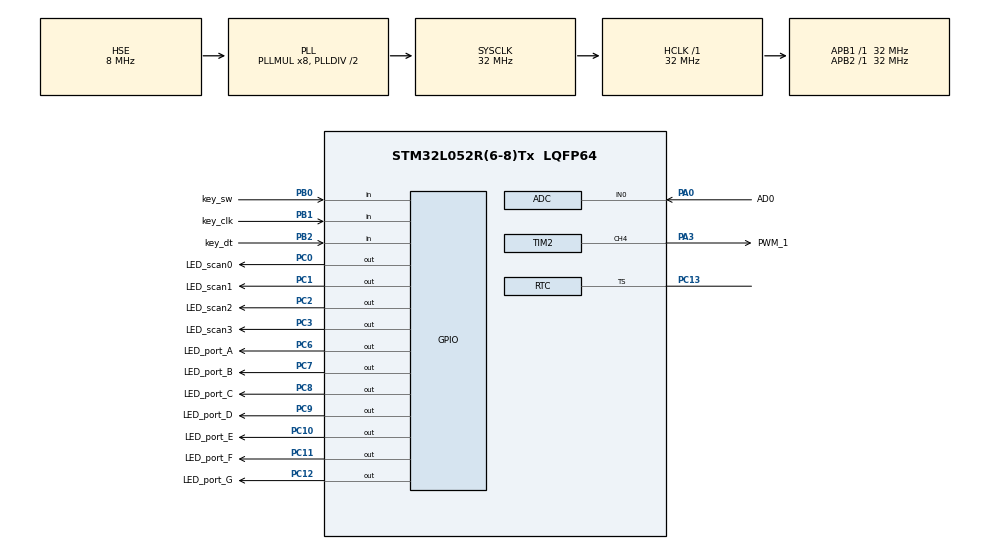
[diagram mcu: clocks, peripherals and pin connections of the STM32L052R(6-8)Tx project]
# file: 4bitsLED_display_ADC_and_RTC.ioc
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ADC.SamplingTime=ADC_SAMPLETIME_160CYCLES_5
Mcu.Family=STM32L0
Mcu.Name=STM32L052R(6-8)Tx
Mcu.Package=LQFP64
NVIC.ADC1_COMP_IRQn=true\:1\:0\:true\:false\:true\:true
NVIC.TIM2_IRQn=true\:2\:0\:true\:false\:true\:true
NVIC.TIM6_DAC_IRQn=true\:3\:0\:true\:false\:true\:true
PA0.GPIO_Label=AD0
PA0.Mode=IN0
PA0.Signal=ADC_IN0
PA13.Mode=Serial_Wire
PA13.Signal=SYS_SWDIO
PA14.Mode=Serial_Wire
PA14.Signal=SYS_SWCLK
PA3.GPIO_Label=PWM_1
PA3.Signal=S_TIM2_CH4
PB0.GPIO_Label=key_sw
PB0.GPIO_PuPd=GPIO_PULLUP
PB0.Signal=GPIO_Input
PB1.GPIO_Label=key_clk
PB1.GPIO_PuPd=GPIO_PULLUP
PB1.Signal=GPIO_Input
PB2.GPIO_Label=key_dt
PB2.GPIO_PuPd=GPIO_PULLUP
PB2.Signal=GPIO_Input
PC0.GPIO_Label=LED_scan0
PC0.GPIO_ModeDefaultOutputPP=GPIO_MODE_OUTPUT_PP
PC0.Signal=GPIO_Output
PC1.GPIO_Label=LED_scan1
PC1.Signal=GPIO_Output
PC10.GPIO_Label=LED_port_E
PC10.Signal=GPIO_Output
PC11.GPIO_Label=LED_port_F
PC11.Signal=GPIO_Output
PC12.GPIO_Label=LED_port_G
PC12.Signal=GPIO_Output
PC13.Mode=Timestamp enabled
PC13.Signal=RTC_TS
PC14-OSC32_IN.Mode=LSE-External-Oscillator
PC14-OSC32_IN.Signal=RCC_OSC32_IN
PC15-OSC32_OUT.Mode=LSE-External-Oscillator
PC15-OSC32_OUT.Signal=RCC_OSC32_OUT
PC2.GPIO_Label=LED_scan2
PC2.Signal=GPIO_Output
PC3.GPIO_Label=LED_scan3
PC3.Signal=GPIO_Output
PC6.GPIO_Label=LED_port_A
PC6.Signal=GPIO_Output
PC7.GPIO_Label=LED_port_B
PC7.Signal=GPIO_Output
PC8.GPIO_Label=LED_port_C
PC8.Signal=GPIO_Output
PC9.GPIO_Label=LED_port_D
PC9.Signal=GPIO_Output
PH0-OSC_IN.Mode=HSE-External-Oscillator
PH0-OSC_IN.Signal=RCC_OSC_IN
PH1-OSC_OUT.Mode=HSE-External-Oscillator
PH1-OSC_OUT.Signal=RCC_OSC_OUT
ProjectManager.HeapSize=0x200
ProjectManager.StackSize=0x400
ProjectManager.TargetToolchain=MDK-ARM V5
RCC.AHBFreq_Value=32000000
RCC.APB1Freq_Value=32000000
RCC.APB1TimFreq_Value=32000000
RCC.APB2Freq_Value=32000000
RCC.APB2TimFreq_Value=32000000
RCC.HCLKFreq_Value=32000000
RCC.HSE_VALUE=8000000
RCC.HSI16_VALUE=16000000
RCC.HSI48_VALUE=48000000
RCC.HSI_VALUE=16000000
RCC.MSI_VALUE=2097000
RCC.PLLMUL=RCC_PLLMUL_8
RCC.PLLSourceVirtual=RCC_PLLSOURCE_HSE
RCC.RTCClockSelection=RCC_RTCCLKSOURCE_LSE
RCC.SYSCLKFreq_VALUE=32000000
RCC.SYSCLKSource=RCC_SYSCLKSOURCE_PLLCLK
RCC.VCOOutputFreq_Value=64000000
SH.S_TIM2_CH4.0=TIM2_CH4,PWM Generation4 CH4
TIM2.Channel-PWM\ Generation4\ CH4=TIM_CHANNEL_4
TIM2.Period=1000
TIM2.Prescaler=10
TIM6.Period=1000
TIM6.Prescaler=32
VP_RTC_VS_RTC_Activate.Mode=RTC_Enabled
VP_RTC_VS_RTC_Calendar.Mode=RTC_Calendar
VP_TIM2_VS_ClockSourceINT.Mode=Internal
VP_TIM6_VS_ClockSourceINT.Mode=Enable_Timer
board=4bitsLED_display_ADC_and_RTC

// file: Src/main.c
/**
  ******************************************************************************
  * @file           : main.c
  * @brief          : Main program body
  ******************************************************************************
  ** This notice applies to any and all portions of this file
  * that are not between comment pairs USER CODE BEGIN and
  * USER CODE END. Other portions of this file, whether
  * inserted by the user or by software development tools
  * are owned by their respective copyright owners.
  *
  * COPYRIGHT(c) 2018 STMicroelectronics
  *
  * Redistribution and use in source and binary forms, with or without modification,
  * are permitted provided that the following conditions are met:
  *   1. Redistributions of source code must retain the above copyright notice,
  *      this list of conditions and the following disclaimer.
  *   2. Redistributions in binary form must reproduce the above copyright notice,
  *      this list of conditions and the following disclaimer in the documentation
  *      and/or other materials provided with the distribution.
  *   3. Neither the name of STMicroelectronics nor the names of its contributors
  *      may be used to endorse or promote products derived from this software
  *      without specific prior written permission.
  *
  * THIS SOFTWARE IS PROVIDED BY THE COPYRIGHT HOLDERS AND CONTRIBUTORS "AS IS"
  * AND ANY EXPRESS OR IMPLIED WARRANTIES, INCLUDING, BUT NOT LIMITED TO, THE
  * IMPLIED WARRANTIES OF MERCHANTABILITY AND FITNESS FOR A PARTICULAR PURPOSE ARE
  * DISCLAIMED. IN NO EVENT SHALL THE COPYRIGHT HOLDER OR CONTRIBUTORS BE LIABLE
  * FOR ANY DIRECT, INDIRECT, INCIDENTAL, SPECIAL, EXEMPLARY, OR CONSEQUENTIAL
  * DAMAGES (INCLUDING, BUT NOT LIMITED TO, PROCUREMENT OF SUBSTITUTE GOODS OR
  * SERVICES; LOSS OF USE, DATA, OR PROFITS; OR BUSINESS INTERRUPTION) HOWEVER
  * CAUSED AND ON ANY THEORY OF LIABILITY, WHETHER IN CONTRACT, STRICT LIABILITY,
  * OR TORT (INCLUDING NEGLIGENCE OR OTHERWISE) ARISING IN ANY WAY OUT OF THE USE
  * OF THIS SOFTWARE, EVEN IF ADVISED OF THE POSSIBILITY OF SUCH DAMAGE.
  *
  ******************************************************************************
  */
#include "main.h"
#include "stm32l0xx_hal.h"

/* USER CODE BEGIN Includes */
#define SEVEN_SEGMENT_SCAN0		0
#define SEVEN_SEGMENT_SCAN1		1
#define SEVEN_SEGMENT_SCAN2		2
#define SEVEN_SEGMENT_SCAN3		3
#define SEVEN_SEGMENT_BLACK		4

#define INITIAL 0
#define TASK1	1
#define TASK2	2
#define TASK3	3
#define TASK4	4

#define WAIT_PRESS_THE_BUTTON  0
#define WAIT_NO_PRESS_THE_BUTTON  1
/* USER CODE END Includes */

ADC_HandleTypeDef hadc;

RTC_HandleTypeDef hrtc;

TIM_HandleTypeDef htim2;
TIM_HandleTypeDef htim6;

/* USER CODE BEGIN PV */
/* Private variables ---------------------------------------------------------*/

/* USER CODE END PV */

void SystemClock_Config(void);
static void MX_GPIO_Init(void);
static void MX_ADC_Init(void);
static void MX_TIM2_Init(void);
static void MX_TIM6_Init(void);
static void MX_RTC_Init(void);

void HAL_TIM_MspPostInit(TIM_HandleTypeDef *htim);

/* USER CODE BEGIN PFP */
/* Private function prototypes -----------------------------------------------*/
uint8_t mstep=0;
uint8_t Seven_seg_scan = 0;
uint16_t Seven_segment_scan_timer = 0;
uint16_t LED_flicker_timer = 0;
uint16_t PWM_Counter = 0;
uint8_t Key_sw(uint8_t index);
uint8_t Key_sw_state = 0;
uint8_t ADC_index = 0;
uint16_t ADC_Value[10] = {0};
float Variable_resistance_ADC_Voltage_Value = 0.0;
uint8_t RTC_Second,RTC_hour,RTC_minute;
uint8_t RTC_WeekDay,RTC_Date,RTC_Month,RTC_Year;

uint8_t Seven_segment_display_decoding[16]={//common vcc decode table a~g pin no p pin
	0x01,0x4f,0x12,0x06,0x4c,0x24,
	0x60,0x0f,0x00,0x0c,0x72,0x66,
	0x5c,0x34,0x70,0xff
};

/* USER CODE END PFP */

/* USER CODE BEGIN 0 */
void Seven_segment_Display(uint8_t scan,uint8_t data);
void Seven_segment_scan(uint8_t scan);
void Seven_segment_data(uint8_t data);
static void RTC_TimeShow(void);

void HAL_ADC_ConvCpltCallback(ADC_HandleTypeDef* hadc){
	if(__HAL_ADC_GET_FLAG(hadc,ADC_IT_EOC)){
		ADC_Value[ADC_index] = HAL_ADC_GetValue(hadc);
		ADC_index++;
	}
	if(__HAL_ADC_GET_FLAG(hadc,ADC_IT_EOS)){
		ADC_index = 0;
		Variable_resistance_ADC_Voltage_Value = (((float)ADC_Value[0]*3.3)/4096);
	}
}

void HAL_TIM_PeriodElapsedCallback(TIM_HandleTypeDef *htim){
	if(htim->Instance == TIM6){
		LED_flicker_timer = (LED_flicker_timer>0)?LED_flicker_timer - 1:0;
		Seven_segment_scan_timer = (Seven_segment_scan_timer>0)?Seven_segment_scan_timer - 1:0;

		Key_sw_state = Key_sw(Key_sw_state);

		if(Key_sw_state == 2){
			mstep = (mstep >= TASK4)? TASK1 : mstep + 1;
			Key_sw_state = 0;
		}

	}
}
/* USER CODE END 0 */

int main(void)
{
  /* USER CODE BEGIN 1 */
	uint8_t PWM_Flag = 1;
	RTC_TimeTypeDef sTime;
  RTC_DateTypeDef sDate;
  /* USER CODE END 1 */

  /* MCU Configuration----------------------------------------------------------*/

  /* Reset of all peripherals, Initializes the Flash interface and the Systick. */
  HAL_Init();

  /* Configure the system clock */
  SystemClock_Config();

  /* Initialize all configured peripherals */
  MX_GPIO_Init();
  MX_ADC_Init();
  MX_TIM2_Init();
  MX_TIM6_Init();
  MX_RTC_Init();
  /* USER CODE BEGIN 2 */
	HAL_TIM_PWM_Start_IT(&htim2,TIM_CHANNEL_4);
	HAL_TIM_Base_Start_IT(&htim6);
	HAL_ADC_Start_IT(&hadc);
  /* USER CODE END 2 */

  /* Infinite loop */
  /* USER CODE BEGIN WHILE */
  while (1)
  {
		if(LED_flicker_timer == 0){//25ms
			LED_flicker_timer = 24;
			if(PWM_Flag){
				PWM_Flag = (PWM_Counter > 999)?0:1;
				PWM_Counter = (PWM_Counter > 1000)?0:PWM_Counter + 5;
			}
			else{
				PWM_Flag = (PWM_Counter > 0)?0:1;
				PWM_Counter = (PWM_Counter > 0)?PWM_Counter - 5:0;
			}
			__HAL_TIM_SET_COMPARE(&htim2,TIM_CHANNEL_4,PWM_Counter);
		}
		switch(mstep){
			case INITIAL:	// Set RTC time initial
				sTime.Hours = 0x15;
				sTime.Minutes = 0x20;
				sTime.Seconds = 0x0;
				sTime.DayLightSaving = RTC_DAYLIGHTSAVING_NONE;
				sTime.StoreOperation = RTC_STOREOPERATION_RESET;
				if (HAL_RTC_SetTime(&hrtc, &sTime, RTC_FORMAT_BCD) != HAL_OK)
				{
					_Error_Handler(__FILE__, __LINE__);
				}

				sDate.WeekDay = RTC_WEEKDAY_MONDAY;
				sDate.Month = RTC_MONTH_JULY;
				sDate.Date = 0x23;
				sDate.Year = 0x0;

				if (HAL_RTC_SetDate(&hrtc, &sDate, RTC_FORMAT_BCD) != HAL_OK)
				{
					_Error_Handler(__FILE__, __LINE__);
				}
				mstep = TASK1;
				break;
			case TASK1:	//Display PWM Value is zero to one thousand
				if(Seven_segment_scan_timer == 0){
					Seven_segment_scan_timer = 1;
					switch(Seven_seg_scan){
						case 0:
							Seven_segment_Display(Seven_seg_scan,~Seven_segment_display_decoding[PWM_Counter%10]);
							break;
						case 1:
							Seven_segment_Display(Seven_seg_scan,~Seven_segment_display_decoding[(PWM_Counter/10)%10]);
							break;
						case 2:
							Seven_segment_Display(Seven_seg_scan,~Seven_segment_display_decoding[(PWM_Counter/100)%10]);
							break;
						case 3:
							Seven_segment_Display(Seven_seg_scan,~Seven_segment_display_decoding[(PWM_Counter/1000)%10]);
							break;
						default:
							Seven_seg_scan = 0;
							break;
					}
					Seven_seg_scan = (Seven_seg_scan >= 3)?0:Seven_seg_scan + 1;
				}
				break;
			case TASK2:	//scan Seven_segment from one to three
				if(Seven_segment_scan_timer == 0){
					Seven_segment_scan_timer = 1000;
					switch(Seven_seg_scan){
						case 0:
							Seven_segment_Display(Seven_seg_scan,~Seven_segment_display_decoding[0]);
							break;
						case 1:
							Seven_segment_Display(Seven_seg_scan,~Seven_segment_display_decoding[1]);
							break;
						case 2:
							Seven_segment_Display(Seven_seg_scan,~Seven_segment_display_decoding[2]);
							break;
						case 3:
							Seven_segment_Display(Seven_seg_scan,~Seven_segment_display_decoding[3]);
							break;
						default:
							Seven_seg_scan = 0;
							break;
					}
					Seven_seg_scan = (Seven_seg_scan >= 3)?0:Seven_seg_scan + 1;
				}
				break;
			case TASK3:		//Variable resistance Voltage Value
				HAL_ADC_Start_IT(&hadc);
				if(Seven_segment_scan_timer == 0){
					Seven_segment_scan_timer = 1;
					switch(Seven_seg_scan){
						case 0:
							Seven_segment_Display(Seven_seg_scan,~Seven_segment_display_decoding[(uint16_t)(Variable_resistance_ADC_Voltage_Value*1000)%10]);
							break;
						case 1:
							Seven_segment_Display(Seven_seg_scan,~Seven_segment_display_decoding[(uint16_t)((Variable_resistance_ADC_Voltage_Value*1000)/10)%10]);
							break;
						case 2:
							Seven_segment_Display(Seven_seg_scan,~Seven_segment_display_decoding[(uint16_t)((Variable_resistance_ADC_Voltage_Value*1000)/100)%10]);
							break;
						case 3:
							Seven_segment_Display(Seven_seg_scan,~Seven_segment_display_decoding[(uint16_t)((Variable_resistance_ADC_Voltage_Value*1000)/1000)%10]);
							break;
						default:
							Seven_seg_scan = 0;
							break;
					}
					Seven_seg_scan = (Seven_seg_scan >= 3)?0:Seven_seg_scan + 1;
				}
				break;
			case TASK4:		//RTC
				RTC_TimeShow();
				if(Seven_segment_scan_timer == 0){
					Seven_segment_scan_timer = 1;
					switch(Seven_seg_scan){
						case 0:
							Seven_segment_Display(Seven_seg_scan,~Seven_segment_display_decoding[RTC_minute%10]);
							break;
						case 1:
							Seven_segment_Display(Seven_seg_scan,~Seven_segment_display_decoding[(RTC_minute/10)%10]);
							break;
						case 2:
							Seven_segment_Display(Seven_seg_scan,~Seven_segment_display_decoding[RTC_hour%10]);
							break;
						case 3:
							Seven_segment_Display(Seven_seg_scan,~Seven_segment_display_decoding[(RTC_hour/10)%10]);
							break;
						default:
							Seven_seg_scan = 0;
							break;
					}
					Seven_seg_scan = (Seven_seg_scan >= 3)?0:Seven_seg_scan + 1;
				}
				break;
			default:
				break;
		}

  /* USER CODE END WHILE */

  }

}

void SystemClock_Config(void)
{

  RCC_OscInitTypeDef RCC_OscInitStruct;
  RCC_ClkInitTypeDef RCC_ClkInitStruct;
  RCC_PeriphCLKInitTypeDef PeriphClkInit;

    /**Configure the main internal regulator output voltage
    */
  __HAL_PWR_VOLTAGESCALING_CONFIG(PWR_REGULATOR_VOLTAGE_SCALE1);

    /**Configure LSE Drive Capability
    */
  HAL_PWR_EnableBkUpAccess();

  __HAL_RCC_LSEDRIVE_CONFIG(RCC_LSEDRIVE_LOW);

    /**Initializes the CPU, AHB and APB busses clocks
    */
  RCC_OscInitStruct.OscillatorType = RCC_OSCILLATORTYPE_HSE|RCC_OSCILLATORTYPE_LSE;
  RCC_OscInitStruct.HSEState = RCC_HSE_ON;
  RCC_OscInitStruct.LSEState = RCC_LSE_ON;
  RCC_OscInitStruct.PLL.PLLState = RCC_PLL_ON;
  RCC_OscInitStruct.PLL.PLLSource = RCC_PLLSOURCE_HSE;
  RCC_OscInitStruct.PLL.PLLMUL = RCC_PLLMUL_8;
  RCC_OscInitStruct.PLL.PLLDIV = RCC_PLLDIV_2;
  if (HAL_RCC_OscConfig(&RCC_OscInitStruct) != HAL_OK)
  {
    _Error_Handler(__FILE__, __LINE__);
  }

    /**Initializes the CPU, AHB and APB busses clocks
    */
  RCC_ClkInitStruct.ClockType = RCC_CLOCKTYPE_HCLK|RCC_CLOCKTYPE_SYSCLK
                              |RCC_CLOCKTYPE_PCLK1|RCC_CLOCKTYPE_PCLK2;
  RCC_ClkInitStruct.SYSCLKSource = RCC_SYSCLKSOURCE_PLLCLK;
  RCC_ClkInitStruct.AHBCLKDivider = RCC_SYSCLK_DIV1;
  RCC_ClkInitStruct.APB1CLKDivider = RCC_HCLK_DIV1;
  RCC_ClkInitStruct.APB2CLKDivider = RCC_HCLK_DIV1;

  if (HAL_RCC_ClockConfig(&RCC_ClkInitStruct, FLASH_LATENCY_1) != HAL_OK)
  {
    _Error_Handler(__FILE__, __LINE__);
  }

  PeriphClkInit.PeriphClockSelection = RCC_PERIPHCLK_RTC;
  PeriphClkInit.RTCClockSelection = RCC_RTCCLKSOURCE_LSE;
  if (HAL_RCCEx_PeriphCLKConfig(&PeriphClkInit) != HAL_OK)
  {
    _Error_Handler(__FILE__, __LINE__);
  }

    /**Configure the Systick interrupt time
    */
  HAL_SYSTICK_Config(HAL_RCC_GetHCLKFreq()/1000);

    /**Configure the Systick
    */
  HAL_SYSTICK_CLKSourceConfig(SYSTICK_CLKSOURCE_HCLK);

  /* SysTick_IRQn interrupt configuration */
  HAL_NVIC_SetPriority(SysTick_IRQn, 0, 0);
}

/* ADC init function */
static void MX_ADC_Init(void)
{

  ADC_ChannelConfTypeDef sConfig;

    /**Configure the global features of the ADC (Clock, Resolution, Data Alignment and number of conversion)
    */
  hadc.Instance = ADC1;
  hadc.Init.OversamplingMode = DISABLE;
  hadc.Init.ClockPrescaler = ADC_CLOCK_SYNC_PCLK_DIV2;
  hadc.Init.Resolution = ADC_RESOLUTION_12B;
  hadc.Init.SamplingTime = ADC_SAMPLETIME_160CYCLES_5;
  hadc.Init.ScanConvMode = ADC_SCAN_DIRECTION_FORWARD;
  hadc.Init.DataAlign = ADC_DATAALIGN_RIGHT;
  hadc.Init.ContinuousConvMode = DISABLE;
  hadc.Init.DiscontinuousConvMode = DISABLE;
  hadc.Init.ExternalTrigConvEdge = ADC_EXTERNALTRIGCONVEDGE_NONE;
  hadc.Init.ExternalTrigConv = ADC_SOFTWARE_START;
  hadc.Init.DMAContinuousRequests = DISABLE;
  hadc.Init.EOCSelection = ADC_EOC_SINGLE_CONV;
  hadc.Init.Overrun = ADC_OVR_DATA_PRESERVED;
  hadc.Init.LowPowerAutoWait = DISABLE;
  hadc.Init.LowPowerFrequencyMode = DISABLE;
  hadc.Init.LowPowerAutoPowerOff = DISABLE;
  if (HAL_ADC_Init(&hadc) != HAL_OK)
  {
    _Error_Handler(__FILE__, __LINE__);
  }

    /**Configure for the selected ADC regular channel to be converted.
    */
  sConfig.Channel = ADC_CHANNEL_0;
  sConfig.Rank = ADC_RANK_CHANNEL_NUMBER;
  if (HAL_ADC_ConfigChannel(&hadc, &sConfig) != HAL_OK)
  {
    _Error_Handler(__FILE__, __LINE__);
  }

}

/* RTC init function */
static void MX_RTC_Init(void)
{

  RTC_TimeTypeDef sTime;
  RTC_DateTypeDef sDate;

    /**Initialize RTC Only
    */
  hrtc.Instance = RTC;
if(HAL_RTCEx_BKUPRead(&hrtc, RTC_BKP_DR0) != 0x32F2){
  hrtc.Init.HourFormat = RTC_HOURFORMAT_24;
  hrtc.Init.AsynchPrediv = 127;
  hrtc.Init.SynchPrediv = 255;
  hrtc.Init.OutPut = RTC_OUTPUT_DISABLE;
  hrtc.Init.OutPutRemap = RTC_OUTPUT_REMAP_NONE;
  hrtc.Init.OutPutPolarity = RTC_OUTPUT_POLARITY_HIGH;
  hrtc.Init.OutPutType = RTC_OUTPUT_TYPE_OPENDRAIN;
  if (HAL_RTC_Init(&hrtc) != HAL_OK)
  {
    _Error_Handler(__FILE__, __LINE__);
  }

    /**Initialize RTC and set the Time and Date
    */
  sTime.Hours = 0x0;
  sTime.Minutes = 0x0;
  sTime.Seconds = 0x0;
  sTime.DayLightSaving = RTC_DAYLIGHTSAVING_NONE;
  sTime.StoreOperation = RTC_STOREOPERATION_RESET;
  if (HAL_RTC_SetTime(&hrtc, &sTime, RTC_FORMAT_BCD) != HAL_OK)
  {
    _Error_Handler(__FILE__, __LINE__);
  }

  sDate.WeekDay = RTC_WEEKDAY_MONDAY;
  sDate.Month = RTC_MONTH_JANUARY;
  sDate.Date = 0x1;
  sDate.Year = 0x0;

  if (HAL_RTC_SetDate(&hrtc, &sDate, RTC_FORMAT_BCD) != HAL_OK)
  {
    _Error_Handler(__FILE__, __LINE__);
  }

    /**Enable the TimeStamp
    */
  if (HAL_RTCEx_SetTimeStamp(&hrtc, RTC_TIMESTAMPEDGE_RISING, RTC_TIMESTAMPPIN_DEFAULT) != HAL_OK)
  {
    _Error_Handler(__FILE__, __LINE__);
  }

    HAL_RTCEx_BKUPWrite(&hrtc,RTC_BKP_DR0,0x32F2);
  }

}

/* TIM2 init function */
static void MX_TIM2_Init(void)
{

  TIM_ClockConfigTypeDef sClockSourceConfig;
  TIM_MasterConfigTypeDef sMasterConfig;
  TIM_OC_InitTypeDef sConfigOC;

  htim2.Instance = TIM2;
  htim2.Init.Prescaler = 10;
  htim2.Init.CounterMode = TIM_COUNTERMODE_UP;
  htim2.Init.Period = 1000;
  htim2.Init.ClockDivision = TIM_CLOCKDIVISION_DIV1;
  if (HAL_TIM_Base_Init(&htim2) != HAL_OK)
  {
    _Error_Handler(__FILE__, __LINE__);
  }

  sClockSourceConfig.ClockSource = TIM_CLOCKSOURCE_INTERNAL;
  if (HAL_TIM_ConfigClockSource(&htim2, &sClockSourceConfig) != HAL_OK)
  {
    _Error_Handler(__FILE__, __LINE__);
  }

  if (HAL_TIM_PWM_Init(&htim2) != HAL_OK)
  {
    _Error_Handler(__FILE__, __LINE__);
  }

  sMasterConfig.MasterOutputTrigger = TIM_TRGO_RESET;
  sMasterConfig.MasterSlaveMode = TIM_MASTERSLAVEMODE_DISABLE;
  if (HAL_TIMEx_MasterConfigSynchronization(&htim2, &sMasterConfig) != HAL_OK)
  {
    _Error_Handler(__FILE__, __LINE__);
  }

  sConfigOC.OCMode = TIM_OCMODE_PWM1;
  sConfigOC.Pulse = 0;
  sConfigOC.OCPolarity = TIM_OCPOLARITY_HIGH;
  sConfigOC.OCFastMode = TIM_OCFAST_DISABLE;
  if (HAL_TIM_PWM_ConfigChannel(&htim2, &sConfigOC, TIM_CHANNEL_4) != HAL_OK)
  {
    _Error_Handler(__FILE__, __LINE__);
  }

  HAL_TIM_MspPostInit(&htim2);

}

/* TIM6 init function */
static void MX_TIM6_Init(void)
{

  TIM_MasterConfigTypeDef sMasterConfig;

  htim6.Instance = TIM6;
  htim6.Init.Prescaler = 32;
  htim6.Init.CounterMode = TIM_COUNTERMODE_UP;
  htim6.Init.Period = 1000;
  if (HAL_TIM_Base_Init(&htim6) != HAL_OK)
  {
    _Error_Handler(__FILE__, __LINE__);
  }

  sMasterConfig.MasterOutputTrigger = TIM_TRGO_RESET;
  sMasterConfig.MasterSlaveMode = TIM_MASTERSLAVEMODE_DISABLE;
  if (HAL_TIMEx_MasterConfigSynchronization(&htim6, &sMasterConfig) != HAL_OK)
  {
    _Error_Handler(__FILE__, __LINE__);
  }

}

/** Configure pins as
        * Analog
        * Input
        * Output
        * EVENT_OUT
        * EXTI
*/
static void MX_GPIO_Init(void)
{

  GPIO_InitTypeDef GPIO_InitStruct;

  /* GPIO Ports Clock Enable */
  __HAL_RCC_GPIOC_CLK_ENABLE();
  __HAL_RCC_GPIOH_CLK_ENABLE();
  __HAL_RCC_GPIOA_CLK_ENABLE();
  __HAL_RCC_GPIOB_CLK_ENABLE();

  /*Configure GPIO pin Output Level */
  HAL_GPIO_WritePin(GPIOC, LED_scan0_Pin|LED_scan1_Pin|LED_scan2_Pin|LED_scan3_Pin
                          |LED_port_A_Pin|LED_port_B_Pin|LED_port_C_Pin|LED_port_D_Pin
                          |LED_port_E_Pin|LED_port_F_Pin|LED_port_G_Pin, GPIO_PIN_RESET);

  /*Configure GPIO pins : LED_scan0_Pin LED_scan1_Pin LED_scan2_Pin LED_scan3_Pin
                           LED_port_A_Pin LED_port_B_Pin LED_port_C_Pin LED_port_D_Pin
                           LED_port_E_Pin LED_port_F_Pin LED_port_G_Pin */
  GPIO_InitStruct.Pin = LED_scan0_Pin|LED_scan1_Pin|LED_scan2_Pin|LED_scan3_Pin
                          |LED_port_A_Pin|LED_port_B_Pin|LED_port_C_Pin|LED_port_D_Pin
                          |LED_port_E_Pin|LED_port_F_Pin|LED_port_G_Pin;
  GPIO_InitStruct.Mode = GPIO_MODE_OUTPUT_PP;
  GPIO_InitStruct.Pull = GPIO_NOPULL;
  GPIO_InitStruct.Speed = GPIO_SPEED_FREQ_LOW;
  HAL_GPIO_Init(GPIOC, &GPIO_InitStruct);

  /*Configure GPIO pins : key_sw_Pin key_clk_Pin key_dt_Pin */
  GPIO_InitStruct.Pin = key_sw_Pin|key_clk_Pin|key_dt_Pin;
  GPIO_InitStruct.Mode = GPIO_MODE_INPUT;
  GPIO_InitStruct.Pull = GPIO_PULLUP;
  HAL_GPIO_Init(GPIOB, &GPIO_InitStruct);

}

/* USER CODE BEGIN 4 */
void Seven_segment_Display(uint8_t scan,uint8_t data){
		Seven_segment_scan(SEVEN_SEGMENT_BLACK);
		Seven_segment_data(data);
		Seven_segment_scan(scan);
}
void Seven_segment_scan(uint8_t scan){

	switch(scan){
		case SEVEN_SEGMENT_SCAN0:
			/*HAL_GPIO_WritePin(LED_scan0_GPIO_Port,LED_scan0_Pin,GPIO_PIN_SET);
			HAL_GPIO_WritePin(LED_scan1_GPIO_Port,LED_scan1_Pin,GPIO_PIN_RESET);
			HAL_GPIO_WritePin(LED_scan2_GPIO_Port,LED_scan2_Pin,GPIO_PIN_RESET);
			HAL_GPIO_WritePin(LED_scan3_GPIO_Port,LED_scan3_Pin,GPIO_PIN_RESET);*/

			HAL_GPIO_WritePin(LED_scan0_GPIO_Port,LED_scan0_Pin,GPIO_PIN_RESET);
			HAL_GPIO_WritePin(LED_scan1_GPIO_Port,LED_scan1_Pin,GPIO_PIN_SET);
			HAL_GPIO_WritePin(LED_scan2_GPIO_Port,LED_scan2_Pin,GPIO_PIN_SET);
			HAL_GPIO_WritePin(LED_scan3_GPIO_Port,LED_scan3_Pin,GPIO_PIN_SET);
			break;
		case SEVEN_SEGMENT_SCAN1:
			/*HAL_GPIO_WritePin(LED_scan0_GPIO_Port,LED_scan0_Pin,GPIO_PIN_RESET);
			HAL_GPIO_WritePin(LED_scan1_GPIO_Port,LED_scan1_Pin,GPIO_PIN_SET);
			HAL_GPIO_WritePin(LED_scan2_GPIO_Port,LED_scan2_Pin,GPIO_PIN_RESET);
			HAL_GPIO_WritePin(LED_scan3_GPIO_Port,LED_scan3_Pin,GPIO_PIN_RESET);*/

			HAL_GPIO_WritePin(LED_scan0_GPIO_Port,LED_scan0_Pin,GPIO_PIN_SET);
			HAL_GPIO_WritePin(LED_scan1_GPIO_Port,LED_scan1_Pin,GPIO_PIN_RESET);
			HAL_GPIO_WritePin(LED_scan2_GPIO_Port,LED_scan2_Pin,GPIO_PIN_SET);
			HAL_GPIO_WritePin(LED_scan3_GPIO_Port,LED_scan3_Pin,GPIO_PIN_SET);
			break;
		case SEVEN_SEGMENT_SCAN2:
		/*	HAL_GPIO_WritePin(LED_scan0_GPIO_Port,LED_scan0_Pin,GPIO_PIN_RESET);
			HAL_GPIO_WritePin(LED_scan1_GPIO_Port,LED_scan1_Pin,GPIO_PIN_RESET);
			HAL_GPIO_WritePin(LED_scan2_GPIO_Port,LED_scan2_Pin,GPIO_PIN_SET);
			HAL_GPIO_WritePin(LED_scan3_GPIO_Port,LED_scan3_Pin,GPIO_PIN_RESET);*/

			HAL_GPIO_WritePin(LED_scan0_GPIO_Port,LED_scan0_Pin,GPIO_PIN_SET);
			HAL_GPIO_WritePin(LED_scan1_GPIO_Port,LED_scan1_Pin,GPIO_PIN_SET);
			HAL_GPIO_WritePin(LED_scan2_GPIO_Port,LED_scan2_Pin,GPIO_PIN_RESET);
			HAL_GPIO_WritePin(LED_scan3_GPIO_Port,LED_scan3_Pin,GPIO_PIN_SET);
			break;
		case SEVEN_SEGMENT_SCAN3:
		/*	HAL_GPIO_WritePin(LED_scan0_GPIO_Port,LED_scan0_Pin,GPIO_PIN_RESET);
			HAL_GPIO_WritePin(LED_scan1_GPIO_Port,LED_scan1_Pin,GPIO_PIN_RESET);
			HAL_GPIO_WritePin(LED_scan2_GPIO_Port,LED_scan2_Pin,GPIO_PIN_RESET);
			HAL_GPIO_WritePin(LED_scan3_GPIO_Port,LED_scan3_Pin,GPIO_PIN_SET);*/

			HAL_GPIO_WritePin(LED_scan0_GPIO_Port,LED_scan0_Pin,GPIO_PIN_SET);
			HAL_GPIO_WritePin(LED_scan1_GPIO_Port,LED_scan1_Pin,GPIO_PIN_SET);
			HAL_GPIO_WritePin(LED_scan2_GPIO_Port,LED_scan2_Pin,GPIO_PIN_SET);
			HAL_GPIO_WritePin(LED_scan3_GPIO_Port,LED_scan3_Pin,GPIO_PIN_RESET);
			break;
		default://SEVEN_SEGMENT_BLACK
			HAL_GPIO_WritePin(LED_scan0_GPIO_Port,LED_scan0_Pin,GPIO_PIN_SET);
			HAL_GPIO_WritePin(LED_scan1_GPIO_Port,LED_scan1_Pin,GPIO_PIN_SET);
			HAL_GPIO_WritePin(LED_scan2_GPIO_Port,LED_scan2_Pin,GPIO_PIN_SET);
			HAL_GPIO_WritePin(LED_scan3_GPIO_Port,LED_scan3_Pin,GPIO_PIN_SET);
			break;
	}
}
void Seven_segment_data(uint8_t data){
	if(data & 0x40)
		HAL_GPIO_WritePin(LED_port_A_GPIO_Port,LED_port_A_Pin,GPIO_PIN_SET);
	else
		HAL_GPIO_WritePin(LED_port_A_GPIO_Port,LED_port_A_Pin,GPIO_PIN_RESET);

	if(data & 0x20)
		HAL_GPIO_WritePin(LED_port_B_GPIO_Port,LED_port_B_Pin,GPIO_PIN_SET);
	else
		HAL_GPIO_WritePin(LED_port_B_GPIO_Port,LED_port_B_Pin,GPIO_PIN_RESET);

	if(data & 0x10)
		HAL_GPIO_WritePin(LED_port_C_GPIO_Port,LED_port_C_Pin,GPIO_PIN_SET);
	else
		HAL_GPIO_WritePin(LED_port_C_GPIO_Port,LED_port_C_Pin,GPIO_PIN_RESET);

	if(data & 0x08)
		HAL_GPIO_WritePin(LED_port_D_GPIO_Port,LED_port_D_Pin,GPIO_PIN_SET);
	else
		HAL_GPIO_WritePin(LED_port_D_GPIO_Port,LED_port_D_Pin,GPIO_PIN_RESET);

	if(data & 0x04)
		HAL_GPIO_WritePin(LED_port_E_GPIO_Port,LED_port_E_Pin,GPIO_PIN_SET);
	else
		HAL_GPIO_WritePin(LED_port_E_GPIO_Port,LED_port_E_Pin,GPIO_PIN_RESET);

	if(data & 0x02)
		HAL_GPIO_WritePin(LED_port_F_GPIO_Port,LED_port_F_Pin,GPIO_PIN_SET);
	else
		HAL_GPIO_WritePin(LED_port_F_GPIO_Port,LED_port_F_Pin,GPIO_PIN_RESET);

	if(data & 0x01)
		HAL_GPIO_WritePin(LED_port_G_GPIO_Port,LED_port_G_Pin,GPIO_PIN_SET);
	else
		HAL_GPIO_WritePin(LED_port_G_GPIO_Port,LED_port_G_Pin,GPIO_PIN_RESET);
}
static void RTC_TimeShow(void)
{
  RTC_DateTypeDef sdatestructureget;
  RTC_TimeTypeDef stimestructureget;

  /* Get the RTC current Time */
  HAL_RTC_GetTime(&hrtc, &stimestructureget, RTC_FORMAT_BIN);
  /* Get the RTC current Date */
  HAL_RTC_GetDate(&hrtc, &sdatestructureget, RTC_FORMAT_BIN);
  /* Display time Format : hh:mm:ss */
  //sprintf((char*)showtime,"%02d:%02d:%02d",stimestructureget.Hours, stimestructureget.Minutes, stimestructureget.Seconds);
	RTC_WeekDay = sdatestructureget.WeekDay;
	RTC_Date = sdatestructureget.Date;
	RTC_Month = sdatestructureget.Month;
	RTC_Year = sdatestructureget.Year;

	RTC_Second = stimestructureget.Seconds;
	RTC_minute = stimestructureget.Minutes;
	RTC_hour = stimestructureget.Hours;
}
uint8_t Key_sw(uint8_t index){
	switch(index){
		case WAIT_PRESS_THE_BUTTON:
			if(!(HAL_GPIO_ReadPin(key_sw_GPIO_Port,key_sw_Pin))){
				index = WAIT_NO_PRESS_THE_BUTTON;
			}
			break;
		case WAIT_NO_PRESS_THE_BUTTON:
			if(HAL_GPIO_ReadPin(key_sw_GPIO_Port,key_sw_Pin)){
				index = 2;
			}
			break;
		default:
				break;
	}
	return index;
}
/* USER CODE END 4 */

void _Error_Handler(char *file, int line)
{
  while(1)
  {
  }
}

/************************ (C) COPYRIGHT STMicroelectronics *****END OF FILE****/
